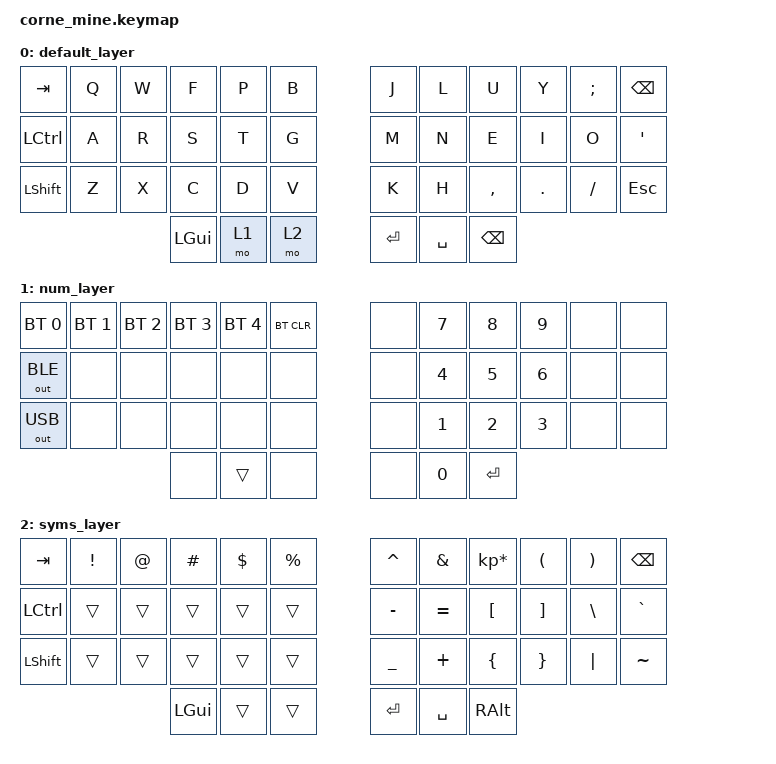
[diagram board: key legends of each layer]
/*
 * Copyright (c) 2020 The ZMK Contributors
 *
 * SPDX-License-Identifier: MIT
 */

#include <behaviors.dtsi>
#include <dt-bindings/zmk/keys.h>
#include <dt-bindings/zmk/bt.h>
#include <dt-bindings/zmk/outputs.h>

/ {
        keymap {
                compatible = "zmk,keymap";

                default_layer {
// -----------------------------------------------------------------------------------------
// |  TAB |  Q  |  W  |  F  |  P  |  B  |---|  J  |  L   |  U  |  Y  |  ;  | BKSP |
// | CTRL |  A  |  R  |  S  |  T  |  G  |---|  M  |  N   |  E  |  I  |  O  |  '   |
// | SHFT |  Z  |  X  |  C  |  D  |  V  |---|  K  |  H   |  ,  |  .  |  /  | ESC  |
//                  | GUI | NUMs | SYMs |---| ENT | SPACE | BKSP |
                        bindings = <
   &kp TAB   &kp Q &kp W &kp F &kp P &kp B     &kp J &kp L  &kp U     &kp Y   &kp SEMI &kp BSPC
   &kp LCTRL &kp A &kp R &kp S &kp T &kp G     &kp M &kp N  &kp E     &kp I   &kp O    &kp SQT
   &kp LSHFT &kp Z &kp X &kp C &kp D &kp V     &kp K &kp H  &kp COMMA &kp DOT &kp FSLH &kp ESC
                  &kp LGUI   &mo 1   &mo 2     &kp RET   &kp SPACE   &kp BSPC
                        >;
                };
                num_layer {
// -----------------------------------------------------------------------------------------
// |   BT0   | BT1 | BT2 | BT3 | BT4 | BTCLR |---|    | 7 | 8 | 9 |    |     |
// | BLE-Out |     |     |     |     |       |---|    | 4 | 5 | 6 |    |     |
// | USB-Out |     |     |     |     |       |---|    | 1 | 2 | 3 |    |     |
//                       |     |     |       |---|    | 0 | ENT |
                        bindings = <
   &bt BT_SEL 0 &bt BT_SEL 1 &bt BT_SEL 2 &bt BT_SEL 3 &bt BT_SEL 4 &bt BT_CLR      &none &kp N7 &kp N8 &kp N9 &none &none
   &out OUT_BLE &none        &none        &none        &none        &none           &none &kp N4 &kp N5 &kp N6 &none &none
   &out OUT_USB &none        &none        &none        &none        &none           &none &kp N1 &kp N2 &kp N3 &none &none
                                                        &none   &trans   &none      &none   &kp N0   &kp RET
                        >;
                };

                syms_layer { 
// -----------------------------------------------------------------------------------------
// |  TAB |  !  |  @  |  #  |  $  |  %  |---|  ^  |   &   |  *  |  (  |  )  | BKSP |
// | CTRL |     |     |     |     |     |---|  -  |   =   |  [  |  ]  |  \  |  `   |
// | SHFT |     |     |     |     |     |---|  _  |   +   |  {  |  }  | "|" |  ~   |
//                    | GUI |     |     |---| ENT | SPACE | ALT |
                        bindings = <
   &kp  TAB  &kp EXCL &kp AT &kp HASH &kp DLLR &kp PRCNT   &kp CARET &kp AMPS  &kp KP_MULTIPLY &kp LPAR &kp RPAR &kp BSPC
   &kp LCTRL &trans   &trans &trans   &trans   &trans      &kp MINUS &kp EQUAL &kp LBKT        &kp RBKT &kp BSLH &kp GRAVE
   &kp LSHFT &trans   &trans &trans   &trans   &trans      &kp UNDER &kp PLUS  &kp LBRC        &kp RBRC &kp PIPE &kp TILDE
                           &kp LGUI   &trans   &trans      &kp RET   &kp SPACE   &kp RALT
                        >;
                };

                qwerty_layer {
// -----------------------------------------------------------------------------------------
// | TAB | Q | W | E | R | T | ----- | U | I | O | P | BKSP |
// 
                };
        };
};
